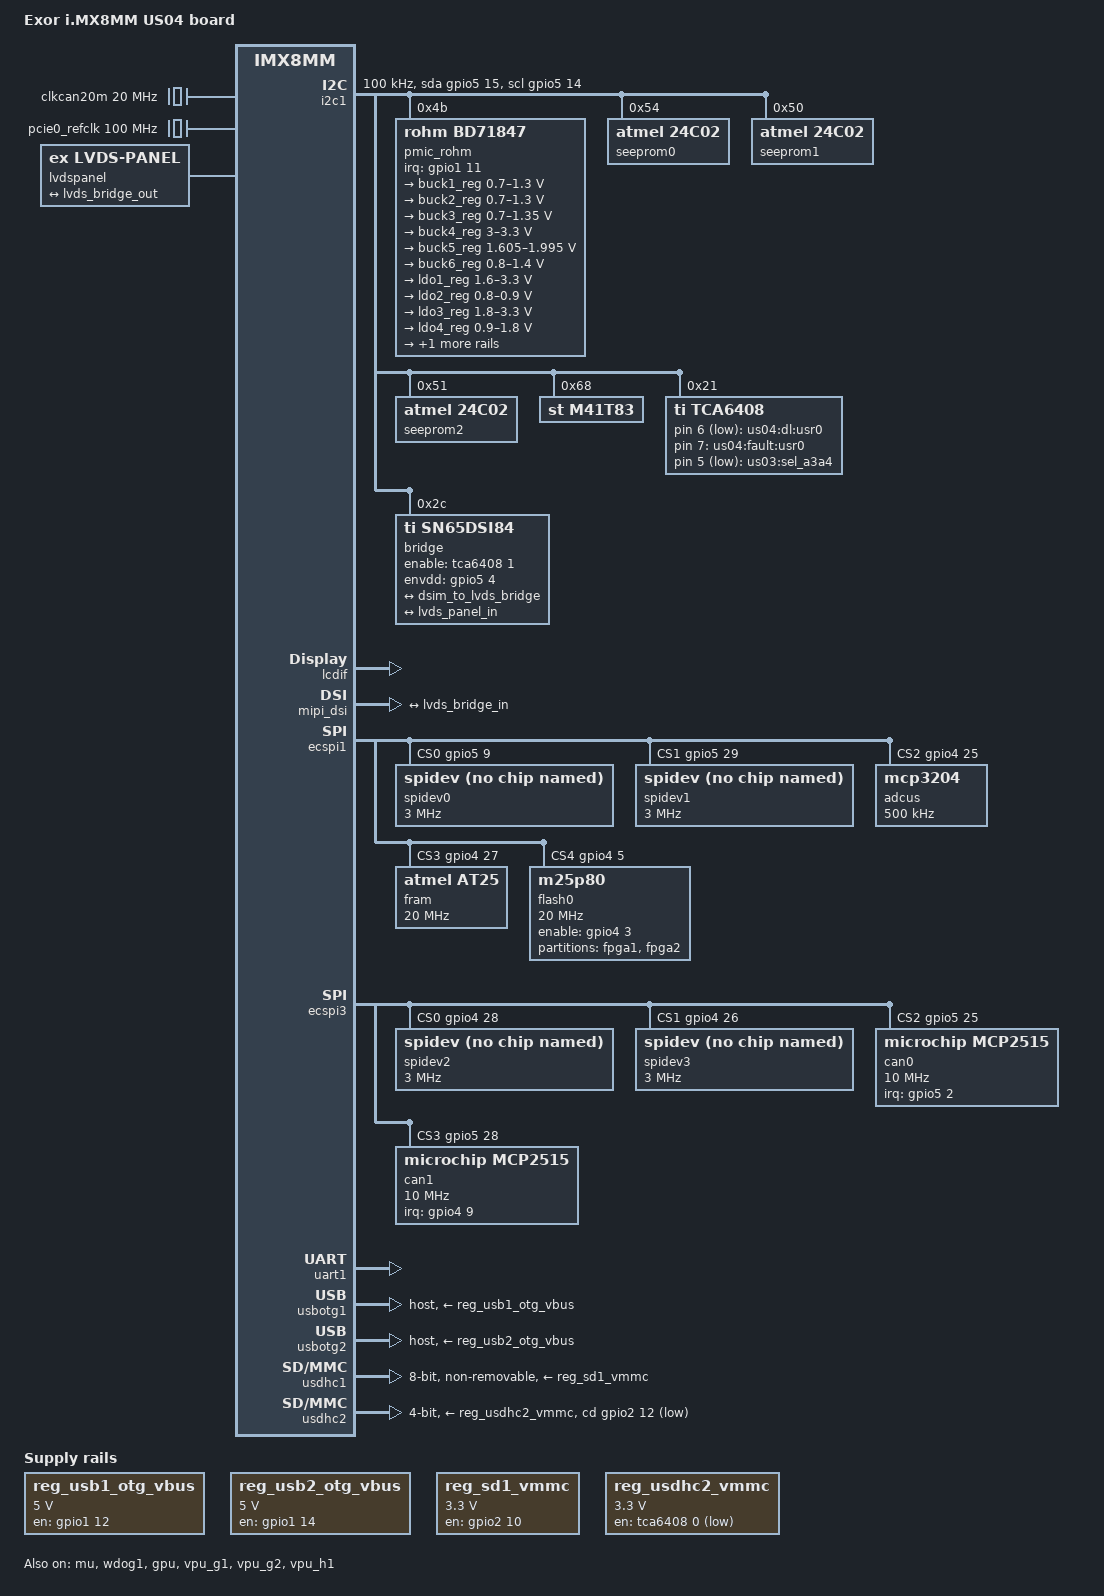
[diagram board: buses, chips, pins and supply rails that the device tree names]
/*
 * Copyright 2019 Exor Int. S.p.a.
 * Copyright 2018 NXP
 * 
 * This program is free software; you can redistribute it and/or
 * modify it under the terms of the GNU General Public License
 * as published by the Free Software Foundation; either version 2
 * of the License, or (at your option) any later version.
 *
 * This program is distributed in the hope that it will be useful,
 * but WITHOUT ANY WARRANTY; without even the implied warranty of
 * MERCHANTABILITY or FITNESS FOR A PARTICULAR PURPOSE.  See the
 * GNU General Public License for more details.
 */

/dts-v1/;

#include "imx8mm.dtsi"

/ {
	model = "Exor i.MX8MM US04 board";
	compatible = "fsl,imx8mm-evk", "fsl,imx8mm", "us04,imx8mm";

	aliases {
		mmc0 = &usdhc2;
		mmc1 = &usdhc1;
		spi0 = &ecspi1;
		spi1 = &ecspi3;
		spi2 = &ecspi2;
		can0 = &can0;
		can1 = &can1;
	};

//	chosen {
//        stdout-path = &uart1;
//    };
	clkcan20m: clk20m {
		compatible = "fixed-clock";
		#clock-cells = <0>;
		clock-frequency = <20000000>;
	};

	pcie0_refclk: pcie0-refclk {
		compatible = "fixed-clock";
		#clock-cells = <0>;
		clock-frequency = <100000000>;
	};
	
    backlight0: backlight {
		status = "disabled";
    };
    
	leds:leds {
		compatible = "gpio-leds";
		pinctrl-names = "default";
        
        dlled@6 {
            label = "us04:dl:usr0";
            gpios = <&tca6408 6 1>;
            default-state = "on";
        };
  
        faultled@7 {
            label = "us04:fault:usr0";
            gpios = <&tca6408 7 0>;
            default-state = "off";
        };

  
        sela3a4@8 {
            label = "us03:sel_a3a4";
            gpios = <&tca6408 5 GPIO_ACTIVE_LOW>;
            default-state = "on";
        };
	};

	regulators {
		compatible = "simple-bus";
		#address-cells = <1>;
		#size-cells = <0>;

        reg_usb1_otg_vbus: usb1_regulator {
            compatible = "regulator-fixed";
            reg = <0>;
            regulator-name = "usb1_vbus";
            regulator-min-microvolt = <5000000>;
            regulator-max-microvolt = <5000000>;
            gpio = <&gpio1 12 0>;
            enable-active-high;
        };

        reg_usb2_otg_vbus: usb2_regulator {
            compatible = "regulator-fixed";
            reg = <1>;
            regulator-name = "usb2_vbus";
            regulator-min-microvolt = <5000000>;
            regulator-max-microvolt = <5000000>;
            gpio = <&gpio1 14 0>;
            enable-active-high;
        };
        
		reg_sd1_vmmc: sd1_regulator {
			compatible = "regulator-fixed";
			regulator-name = "emmc_enable";
			reg = <2>;
			regulator-min-microvolt = <3300000>;
			regulator-max-microvolt = <3300000>;
			gpio = <&gpio2 10 GPIO_ACTIVE_HIGH>;
			regulator-boot-on;
			regulator-always-on;
			enable-active-high;
		};

		reg_usdhc2_vmmc: regulator-usdhc2 {
			compatible = "regulator-fixed";
			regulator-name = "sdcard_enable";
			reg = <3>;
			regulator-min-microvolt = <3300000>;
			regulator-max-microvolt = <3300000>;
			gpio = <&tca6408 0 GPIO_ACTIVE_HIGH>;
			regulator-boot-on;
			regulator-always-on;
			enable-active-low;
		};
	};
	
	lvdspanel {
		#address-cells = <1>;
		#size-cells = <0>;
		compatible = "ex,lvds-panel", "simple-panel";

		status = "okay";

		de_pol = <1>;
		hsync_pol = <1>;
		vsync_pol = <1>;
		lvds-use-jeida;
		panel-timing {
			clock-frequency = <33200000>;
			hactive = <800>;
			vactive = <480>;
			hsync-len = <200>;
			hfront-porch = <28>;
			hback-porch = <28>;
			vsync-len = <25>;
			vfront-porch = <10>;
			vback-porch = <10>;
		};

		port@0 {
			reg = <0>;

			lvds_panel_in: endpoint {
				remote-endpoint = <&lvds_bridge_out>;
			};
		};
	};
	
};

&iomuxc {
	pinctrl-names = "default";
	pinctrl-0 = <&pinctrl_hog>;

	imx8mm-evk {
		pinctrl_hog: hoggrp {
			fsl,pins = <
                MX8MM_IOMUXC_GPIO1_IO12_GPIO1_IO12      0x1c4
                MX8MM_IOMUXC_GPIO1_IO14_GPIO1_IO14      0x1c4
                MX8MM_IOMUXC_SPDIF_RX_GPIO5_IO4         0x0c4
			>;
		};

        pinctrl_i2c1: i2c1grp {
			fsl,pins = <
				MX8MM_IOMUXC_I2C1_SCL_I2C1_SCL			0x400001c3
				MX8MM_IOMUXC_I2C1_SDA_I2C1_SDA			0x400001c3
			>;
		};

		pinctrl_i2c1_gpio: i2c1grpgpio {
			fsl,pins = <
				MX8MM_IOMUXC_I2C1_SCL_GPIO5_IO14        0x1c4
				MX8MM_IOMUXC_I2C1_SDA_GPIO5_IO15        0x1c4
			>;
		};
		
		pinctrl_pmic: pmicirq {
			fsl,pins = <
				MX8MM_IOMUXC_GPIO1_IO11_GPIO1_IO11		0x41
			>;
		};

		pinctrl_usdhc1_gpio: usdhc1grpgpio {
			fsl,pins = <
				MX8MM_IOMUXC_SD1_RESET_B_GPIO2_IO10	0x41
			>;
		};
        
		pinctrl_usdhc1: usdhc1grp {
			fsl,pins = <
				MX8MM_IOMUXC_SD1_CLK_USDHC1_CLK		0x190
				MX8MM_IOMUXC_SD1_CMD_USDHC1_CMD		0x1d0
				MX8MM_IOMUXC_SD1_DATA0_USDHC1_DATA0	0x1d0
				MX8MM_IOMUXC_SD1_DATA1_USDHC1_DATA1	0x1d0
				MX8MM_IOMUXC_SD1_DATA2_USDHC1_DATA2	0x1d0
				MX8MM_IOMUXC_SD1_DATA3_USDHC1_DATA3	0x1d0
				MX8MM_IOMUXC_SD1_DATA4_USDHC1_DATA4	0x1d0
				MX8MM_IOMUXC_SD1_DATA5_USDHC1_DATA5	0x1d0
				MX8MM_IOMUXC_SD1_DATA6_USDHC1_DATA6	0x1d0
				MX8MM_IOMUXC_SD1_DATA7_USDHC1_DATA7	0x1d0
            >;
		};

		pinctrl_usdhc2_gpio: usdhc2grpgpio {
			fsl,pins = <
				MX8MM_IOMUXC_SD2_CD_B_GPIO2_IO12	0x41
			>;
		};

		pinctrl_usdhc2: usdhc2grp {
			fsl,pins = <
				MX8MM_IOMUXC_SD2_CLK_USDHC2_CLK		0x190
				MX8MM_IOMUXC_SD2_CMD_USDHC2_CMD		0x1d0
				MX8MM_IOMUXC_SD2_DATA0_USDHC2_DATA0	0x1d0
				MX8MM_IOMUXC_SD2_DATA1_USDHC2_DATA1	0x1d0
				MX8MM_IOMUXC_SD2_DATA2_USDHC2_DATA2	0x1d0
				MX8MM_IOMUXC_SD2_DATA3_USDHC2_DATA3	0x1d0
			>;
		};

		pinctrl_wdog: wdoggrp {
			fsl,pins = <
				MX8MM_IOMUXC_GPIO1_IO02_WDOG1_WDOG_B		0xc6
			>;
		};

		pinctrl_ecspi1: ecspi1grp {
			fsl,pins = <
				MX8MM_IOMUXC_ECSPI1_SCLK_ECSPI1_SCLK    0x11
				MX8MM_IOMUXC_ECSPI1_MOSI_ECSPI1_MOSI    0x11
				MX8MM_IOMUXC_ECSPI1_MISO_ECSPI1_MISO    0x11
				MX8MM_IOMUXC_ECSPI1_SS0_GPIO5_IO9       0x11
				MX8MM_IOMUXC_UART4_TXD_GPIO5_IO29       0x11
				MX8MM_IOMUXC_SAI2_TXC_GPIO4_IO25        0x11
				MX8MM_IOMUXC_SAI2_MCLK_GPIO4_IO27       0x11
				MX8MM_IOMUXC_SAI1_RXD1_GPIO4_IO3        0x11
				MX8MM_IOMUXC_SAI1_RXD3_GPIO4_IO5        0x11
			>;
		};
        
		pinctrl_ecspi3: ecspi3grp {
			fsl,pins = <
                MX8MM_IOMUXC_UART1_RXD_ECSPI3_SCLK      0x11
                MX8MM_IOMUXC_UART1_TXD_ECSPI3_MOSI      0x11
                MX8MM_IOMUXC_UART2_RXD_ECSPI3_MISO      0x11
                MX8MM_IOMUXC_SAI3_RXFS_GPIO4_IO28       0x11
                MX8MM_IOMUXC_SAI2_TXD0_GPIO4_IO26       0x11
                MX8MM_IOMUXC_UART2_TXD_GPIO5_IO25       0x11
                MX8MM_IOMUXC_UART4_RXD_GPIO5_IO28       0x11
                MX8MM_IOMUXC_SAI3_MCLK_GPIO5_IO2        0x11
                MX8MM_IOMUXC_SAI1_RXD7_GPIO4_IO9        0x11
			>;
		};
	};
};

&i2c1 {
	clock-frequency = <100000>;
	pinctrl-names = "default", "gpio";
	pinctrl-0 = <&pinctrl_i2c1>;
	pinctrl-1 = <&pinctrl_i2c1_gpio>;
	scl-gpios = <&gpio5 14 GPIO_ACTIVE_HIGH>;
	sda-gpios = <&gpio5 15 GPIO_ACTIVE_HIGH>;
	status = "okay";
	
	pmic_rohm: pmic@4b {
		compatible = "rohm,bd71847";
		reg = <0x4b>;
		pinctrl-0 = <&pinctrl_pmic>;
		pinctrl-names = "default";
		interrupt-parent = <&gpio1>;
		interrupts = <11 GPIO_ACTIVE_LOW>;
		rohm,reset-snvs-powered;
		
		#clock-cells = <0>;
		clocks = <&osc_32k 0>;
		clock-output-names = "clk-32k-out";

		regulators {
			buck1_reg: BUCK1 {
				regulator-name = "BUCK1";
				regulator-min-microvolt = <700000>;
				regulator-max-microvolt = <1300000>;
				regulator-boot-on;
				regulator-always-on;
				regulator-ramp-delay = <1250>;
			};

			buck2_reg: BUCK2 {
				regulator-name = "BUCK2";
				regulator-min-microvolt = <700000>;
				regulator-max-microvolt = <1300000>;
				regulator-boot-on;
				regulator-always-on;
				regulator-ramp-delay = <1250>;
				rohm,dvs-run-voltage = <1000000>;
				rohm,dvs-idle-voltage = <900000>;
			};

			buck3_reg: BUCK3 {
				// BUCK5 in datasheet
				regulator-name = "BUCK3";
				regulator-min-microvolt = <700000>;
				regulator-max-microvolt = <1350000>;
				regulator-boot-on;
				regulator-always-on;
			};

			buck4_reg: BUCK4 {
				// BUCK6 in datasheet
				regulator-name = "BUCK4";
				regulator-min-microvolt = <3000000>;
				regulator-max-microvolt = <3300000>;
				regulator-boot-on;
				regulator-always-on;
			};

			buck5_reg: BUCK5 {
				// BUCK7 in datasheet
				regulator-name = "BUCK5";
				regulator-min-microvolt = <1605000>;
				regulator-max-microvolt = <1995000>;
				regulator-boot-on;
				regulator-always-on;
			};

			buck6_reg: BUCK6 {
				// BUCK8 in datasheet
				regulator-name = "BUCK6";
				regulator-min-microvolt = <800000>;
				regulator-max-microvolt = <1400000>;
				regulator-boot-on;
				regulator-always-on;
			};

			ldo1_reg: LDO1 {
				regulator-name = "LDO1";
				regulator-min-microvolt = <1600000>;
				regulator-max-microvolt = <3300000>;
				regulator-boot-on;
				regulator-always-on;
			};

			ldo2_reg: LDO2 {
				regulator-name = "LDO2";
				regulator-min-microvolt = <800000>;
				regulator-max-microvolt = <900000>;
				regulator-boot-on;
				regulator-always-on;
			};

			ldo3_reg: LDO3 {
				regulator-name = "LDO3";
				regulator-min-microvolt = <1800000>;
				regulator-max-microvolt = <3300000>;
				regulator-boot-on;
				regulator-always-on;
			};

			ldo4_reg: LDO4 {
				regulator-name = "LDO4";
				regulator-min-microvolt = <900000>;
				regulator-max-microvolt = <1800000>;
				regulator-boot-on;
				regulator-always-on;
			};

			ldo6_reg: LDO6 {
				regulator-name = "LDO6";
				regulator-min-microvolt = <900000>;
				regulator-max-microvolt = <1800000>;
				regulator-boot-on;
				regulator-always-on;
			};
		};
	};
	
    seeprom0:seeprom0@54 {
        compatible = "atmel,24c02";
        reg = <0x54>;
    };
  
    seeprom1:seeprom1@50 {
        compatible = "atmel,24c02";
        reg = <0x50>;
    };
  
    seeprom2:seeprom2@51 {
        compatible = "atmel,24c02";
        reg = <0x51>;
    };
  
    m41t83:m41t83@68 {
        compatible = "st,m41t83";
        reg = <0x68>;
    };
  
    tca6408: tca6408@21 {
        compatible = "ti,tca6408";
        gpio-controller;
        #gpio-cells = <2>;
        reg = <0x21>;
        restart-if-fails;
    };

        bridge@2c {
            compatible = "ti,sn65dsi84";
            reg = <0x2c>;

			enable-gpios = <&tca6408 1 GPIO_ACTIVE_HIGH>;
			envdd-gpios = <&gpio5 4 GPIO_ACTIVE_HIGH>;
            ports {
                #address-cells = <1>;
                #size-cells = <0>;

                port@0 {
                    reg = <0>;

                    lvds_bridge_in: endpoint {
                        remote-endpoint = <&dsim_to_lvds_bridge>;
                        data-lanes = <1 2 3 4>;
                    };
                };

                port@2 {
                    reg = <2>;

                    lvds_bridge_out: endpoint {
                        remote-endpoint = <&lvds_panel_in>;
                    };
                };
            };
        };
};

&lcdif {
	status = "okay";
};

&mipi_dsi {
	status = "okay";

	port@1 {
		dsim_to_lvds_bridge: endpoint {
			remote-endpoint = <&lvds_bridge_in>;
			attach-bridge;
		};
	};
};

&mu {
	status = "okay";
};

&pcie0{
	ext_osc = <1>;
	clocks = <&clk IMX8MM_CLK_PCIE1_ROOT>,
		 <&clk IMX8MM_CLK_PCIE1_AUX>,
		 <&clk IMX8MM_CLK_PCIE1_PHY>,
		 <&pcie0_refclk>;
	clock-names = "pcie", "pcie_aux", "pcie_phy", "pcie_bus";
	assigned-clocks = <&clk IMX8MM_CLK_PCIE1_AUX>,
			  <&clk IMX8MM_CLK_PCIE1_PHY>,
			  <&clk IMX8MM_CLK_PCIE1_CTRL>;
	assigned-clock-rates = <10000000>, <100000000>, <250000000>;
	assigned-clock-parents = <&clk IMX8MM_SYS_PLL2_50M>,
				 <&clk IMX8MM_SYS_PLL2_100M>,
				 <&clk IMX8MM_SYS_PLL2_250M>;	
};

&ecspi1 {
    fsl,spi-num-chipselects = <5>;
    cs-gpios = <&gpio5 9 0>,  /* CS0 */
               <&gpio5 29 0>, /* CS1 */
               <&gpio4 25 0>, /* CS2 */
               <&gpio4 27 0>, /* CS3 */
               <&gpio4 5 0>;  /* CS4 */
    pinctrl-names = "default";
    pinctrl-0 = <&pinctrl_ecspi1>;
    status = "okay";
	/delete-property/dmas;
	/delete-property/dma-names;
  
    spidev0: spi0@0 {
        compatible = "generic,spidev";
        reg = <0>;
        spi-max-frequency = <3000000>;
    };

    spidev1: spi0@1 {
        compatible = "generic,spidev";
        reg = <1>;
        spi-max-frequency = <3000000>;
    };

    adcus: mcp3204@2 {
        compatible = "mcp3204";
        reg = <2>;
        spi-max-frequency = <500000>;
    };
    
    fram: at25@3 {
        compatible = "atmel,at25", "st,m95256";
        reg = <3>;
        spi-max-frequency = <20000000>;
        pagesize = <64>;
        size = <65536>;
        address-width = <16>;
    };
	

	flash0: n25q256a@4 {
		#address-cells = <1>;
		#size-cells = <1>;
		compatible = "m25p80";
		reg = <4>;      /* chip select */
		spi-max-frequency = <20000000>;
		enable-gpios = <&gpio4 3 0>;
		page-size = <256>; 
		block-size = <16>; /* 2^16, 64KB */
		read-delay = <4>;  /* delay value in read data capture register */
		cdns,tshsl-ns = <50>;
		cdns,tsd2d-ns = <50>;
		cdns,tchsh-ns = <4>;
		cdns,tslch-ns = <4>;

		partition@qspi-fpga1 {
		/* 10MB for raw FPGA1 image. */
		label = "fpga1";
		reg = <0x0 0xa00000>;
		};

		partition@qspi-fpga2 {
		/* 10MB for raw FPGA2 image. */
		label = "fpga2";
		reg = <0xa00000 0xa00000>;
		};
	};	
};

&ecspi3 {
    fsl,spi-num-chipselects = <4>;
    cs-gpios = <&gpio4 28 0>,  /* CS0 */
               <&gpio4 26 0>, /* CS1 */
               <&gpio5 25 0>, /* CS2 */
               <&gpio5 28 0>; /* CS3 */
    pinctrl-names = "default";
    pinctrl-0 = <&pinctrl_ecspi3>;
    status = "okay";
  
    spidev2: spi1@0 {
        compatible = "generic,spidev";
        reg = <0>;
        spi-max-frequency = <3000000>;
    };

    spidev3: spi1@1 {
        compatible = "generic,spidev";
        reg = <1>;
        spi-max-frequency = <3000000>;
    };

	can0: can@2 {
		compatible = "microchip,mcp2515";
		reg = <2>;
		clocks = <&clkcan20m>;
		spi-max-frequency = <10000000>;
		interrupt-parent = <&gpio5>;
		interrupts = <2 IRQ_TYPE_LEVEL_LOW>;
	};

	can1: can@3 {
		compatible = "microchip,mcp2515";
		reg = <3>;
		clocks = <&clkcan20m>;
		spi-max-frequency = <10000000>;
		interrupt-parent = <&gpio4>;
		interrupts = <9 IRQ_TYPE_LEVEL_LOW>;
	};
};

&uart1 { 
	assigned-clocks = <&clk IMX8MM_CLK_UART1>;
	assigned-clock-parents = <&clk IMX8MM_SYS_PLL1_80M>;

	status = "okay";
};

&uart2 { 
    status = "disabled";
};

&uart3 {
	assigned-clocks = <&clk IMX8MM_CLK_UART3>;
	assigned-clock-parents = <&clk IMX8MM_SYS_PLL1_80M>;
	status = "disabled";
};

&usbotg1 {
	dr_mode = "host";
    vbus-supply = <&reg_usb1_otg_vbus>;
	picophy,pre-emp-curr-control = <3>;
	picophy,dc-vol-level-adjust = <7>;
	status = "okay";
};

&usbotg2 {
	dr_mode = "host";
    vbus-supply = <&reg_usb2_otg_vbus>;
	picophy,pre-emp-curr-control = <3>;
	picophy,dc-vol-level-adjust = <7>;
	status = "okay";
};

/* EMMC */
&usdhc1 {
	pinctrl-names = "default";
	pinctrl-0 = <&pinctrl_usdhc1>, <&pinctrl_usdhc1_gpio>;
	bus-width = <8>;
	vmmc-supply = <&reg_sd1_vmmc>;
	pm-ignore-notify;
	keep-power-in-suspend;
	non-removable;
	status = "okay";
};

/* SD-card */
&usdhc2 {
	pinctrl-names = "default";
	pinctrl-0 = <&pinctrl_usdhc2>, <&pinctrl_usdhc2_gpio>;
	cd-gpios = <&gpio2 12 0>;
	cd-inverted;
	bus-width = <4>;
	vmmc-supply = <&reg_usdhc2_vmmc>;
	pm-ignore-notify;
	keep-power-in-suspend;
	no-1-8-v;
	cd-debounce-delay-ms = <200>;
	status = "okay";
};

&wdog1 {
	pinctrl-names = "default";
	pinctrl-0 = <&pinctrl_wdog>;
	fsl,ext-reset-output;
	status = "okay";
};

&A53_0 {
	cpu-supply = <&buck2_reg>;
};

&A53_1 {
	cpu-supply = <&buck2_reg>;
};

&A53_2 {
	cpu-supply = <&buck2_reg>;
};

&A53_3 {
	cpu-supply = <&buck2_reg>;
};

&gpu {
	status = "okay";
};

&vpu_g1 {
	status = "okay";
};

&vpu_g2 {
	status = "okay";
};

&vpu_h1 {
	status = "okay";
};
